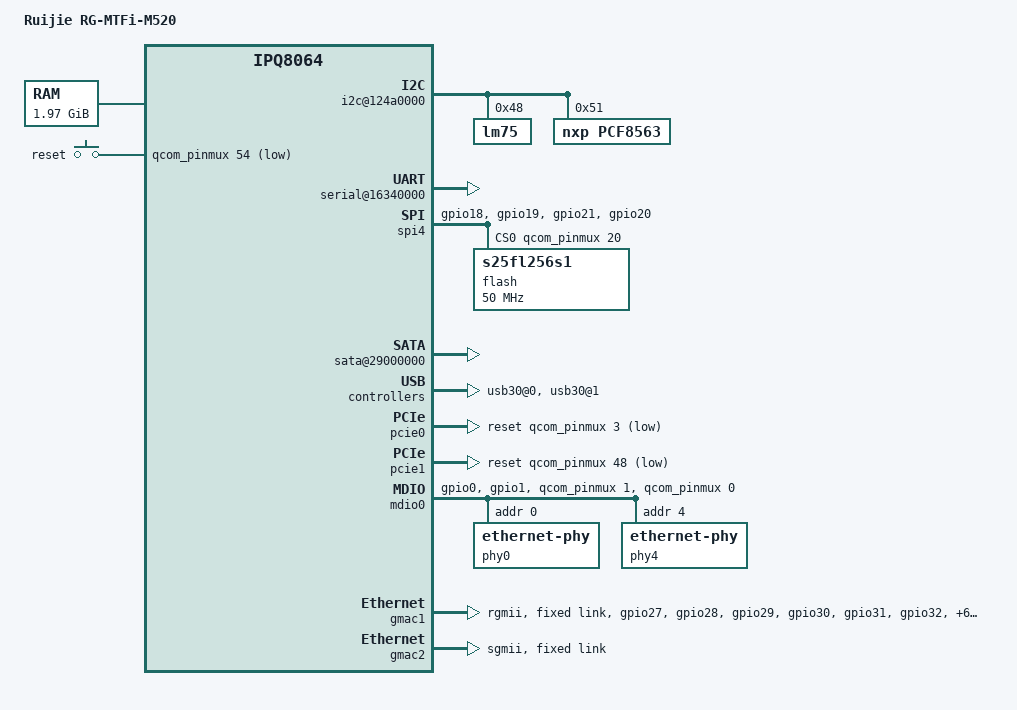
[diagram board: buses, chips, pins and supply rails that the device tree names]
// SPDX-License-Identifier: GPL-2.0-or-later OR MIT

#include "qcom-ipq8064-v2.0.dtsi"

#include <dt-bindings/input/input.h>

/ {
	model = "Ruijie RG-MTFi-M520";
	compatible = "ruijie,rg-mtfi-m520", "qcom,ipq8064";

	memory@0 {
		reg = <0x42000000 0x7e000000>;
		device_type = "memory";
	};

	reserved-memory {
		#address-cells = <1>;
		#size-cells = <1>;
		ranges;
		rsvd@41200000 {
			reg = <0x41200000 0x300000>;
			no-map;
		};
	};

	aliases {
		serial0 = &gsbi4_serial;
		mdio-gpio0 = &mdio0;
		sdcc1 = &sdcc1;
	};

	chosen {
		bootargs = "root=/dev/mmcblk0p3 rootfstype=squashfs,ext4 rootwait noinitrd";
		stdout-path = "serial0:115200n8";
	};

	soc {
		pinmux@800000 {
			button_pins: button_pins {
				mux {
					pins = "gpio54";
					function = "gpio";
					drive-strength = <2>;
					bias-pull-up;
				};
			};

			i2c4_pins: i2c4_pinmux {
				mux {
					pins = "gpio12", "gpio13";
					function = "gsbi4";
					drive-strength = <12>;
					bias-disable;
				};
			};

			led_pins: led_pins {
				mux {
					pins = "gpio7", "gpio8", "gpio9", "gpio53";
					function = "gpio";
					drive-strength = <2>;
					bias-pull-down;
				};
			};

			mdio0_pins: mdio0_pins {
				mux {
					pins = "gpio0", "gpio1";
					function = "gpio";
					drive-strength = <8>;
					bias-disable;
				};

				clk {
					pins = "gpio1";
					input-disable;
				};
			};

			rgmii2_pins: rgmii2_pins {
				mux {
					pins = "gpio27", "gpio28", "gpio29", "gpio30", "gpio31", "gpio32",
					       "gpio51", "gpio52", "gpio59", "gpio60", "gpio61", "gpio62";
					function = "rgmii2";
					drive-strength = <8>;
					bias-disable;
				};

				tx {
					pins = "gpio27", "gpio28", "gpio29", "gpio30", "gpio31", "gpio32";
					input-disable;
				};
			};

			sdcc1_pins: sdcc1_pinmux {
				mux {
					pins = "gpio38", "gpio39", "gpio40", "gpio41", "gpio42",
					       "gpio43", "gpio44", "gpio45", "gpio46", "gpio47";
					function = "sdc1";
				};

				cmd {
					pins = "gpio45";
					drive-strength = <10>;
					bias-pull-up;
				};

				data {
					pins = "gpio38", "gpio39", "gpio40", "gpio41",
					       "gpio43", "gpio44", "gpio46", "gpio47";
					drive-strength = <10>;
					bias-pull-up;
				};

				clk {
					pins = "gpio42";
					drive-strength = <16>;
					bias-disable;
				};
			};

			spi_pins: spi_pins {
				mux {
					pins = "gpio18", "gpio19", "gpio21";
					function = "gsbi5";
					drive-strength = <10>;
					bias-none;
				};

				cs {
					pins = "gpio20";
					drive-strength = <12>;
				};
			};
		};

		gsbi2: gsbi@12480000 {
			qcom,mode = <GSBI_PROT_I2C_UART>;
			status = "ok";

			i2c@124a0000 {
				status = "ok";

				lm75@48 {
					status = "okay";
					compatible = "lm75";
					reg = <0x48>;
				};

				pcf8563: rtc@51 {
					status = "okay";
					compatible = "nxp,pcf8563";
					reg = <0x51>;
				};
			};
		};

		gsbi@16300000 {
			qcom,mode = <GSBI_PROT_I2C_UART>;
			status = "ok";
			serial@16340000 {
				status = "ok";
			};
			/*
			 * The i2c device on gsbi4 should not be enabled.
			 * On ipq806x designs gsbi4 i2c is meant for exclusive
			 * RPM usage. Turning this on in kernel manifests as
			 * i2c failure for the RPM.
			 */
		};

		gsbi5: gsbi@1a200000 {
			qcom,mode = <GSBI_PROT_SPI>;
			status = "ok";

			spi4: spi@1a280000 {
				status = "ok";

				pinctrl-0 = <&spi_pins>;
				pinctrl-names = "default";

				cs-gpios = <&qcom_pinmux 20 GPIO_ACTIVE_HIGH>;

				flash: m25p80@0 {
					compatible = "s25fl256s1";
					#address-cells = <1>;
					#size-cells = <1>;
					spi-max-frequency = <50000000>;
					reg = <0>;

					SBL1@0 {
						label = "SBL1";
						reg = <0x0 0x10000>;
						read-only;
					};

					MIBIB@10000 {
						label = "MIBIB";
						reg = <0x10000 0x10000>;
						read-only;
					};

					SBL2@20000 {
						label = "SBL2";
						reg = <0x20000 0x20000>;
						read-only;
					};

					SBL3@40000 {
						label = "SBL3";
						reg = <0x40000 0x30000>;
						read-only;
					};

					DDRCONFIG@70000 {
						label = "DDRCONFIG";
						reg = <0x70000 0x10000>;
						read-only;
					};

					PRODUCTINFO: PRODUCTINFO@80000 {
						label = "PRODUCTINFO";
						reg = <0x80000 0x10000>;
						read-only;
					};

					TZ@90000 {
						label = "TZ";
						reg = <0x90000 0x30000>;
						read-only;
					};

					RPM@c0000 {
						label = "RPM";
						reg = <0xc0000 0x20000>;
						read-only;
					};

					APPSBL@e0000 {
						label = "APPSBL";
						reg = <0xe0000 0x80000>;
						read-only;
					};

					APPSBLENV@160000 {
						label = "APPSBLENV";
						reg = <0x160000 0x10000>;
						read-only;
					};

					BOOTCONFIG@170000 {
						label = "BOOTCONFIG";
						reg = <0x170000 0x10000>;
						read-only;
					};

					ART@180000 {
						label = "ART";
						reg = <0x180000 0x40000>;
						read-only;
					};
				};
			};
		};

		sata-phy@1b400000 {
			status = "ok";
		};

		sata@29000000 {
			ports-implemented = <0x1>;
			status = "ok";
		};

		phy@100f8800 {		/* USB3 port 1 HS phy */
			status = "ok";
		};

		phy@100f8830 {		/* USB3 port 1 SS phy */
			status = "ok";
		};

		phy@110f8800 {		/* USB3 port 0 HS phy */
			status = "ok";
		};

		phy@110f8830 {		/* USB3 port 0 SS phy */
			status = "ok";
		};

		usb30@0 {
			status = "ok";
		};

		usb30@1 {
			status = "ok";
		};

		pcie0: pci@1b500000 {
			status = "ok";
			reset-gpio = <&qcom_pinmux 3 GPIO_ACTIVE_LOW>;
			pinctrl-0 = <&pcie0_pins>;
			pinctrl-names = "default";
		};

		pcie1: pci@1b700000 {
			status = "ok";
			reset-gpio = <&qcom_pinmux 48 GPIO_ACTIVE_LOW>;
			pinctrl-0 = <&pcie1_pins>;
			pinctrl-names = "default";
			force_gen1 = <1>;
		};

		mdio0: mdio {
			compatible = "virtual,mdio-gpio";
			#address-cells = <1>;
			#size-cells = <0>;
			gpios = <&qcom_pinmux 1 GPIO_ACTIVE_HIGH &qcom_pinmux 0 GPIO_ACTIVE_HIGH>;
			pinctrl-0 = <&mdio0_pins>;
			pinctrl-names = "default";

			phy0: ethernet-phy@0 {
				reg = <0>;
				qca,ar8327-initvals = <
					0x00004 0x7600000   /* PAD0_MODE */
					0x00008 0x1000000   /* PAD5_MODE */
					0x0000c 0x80        /* PAD6_MODE */
					0x000e4 0x6a545     /* MAC_POWER_SEL */
					0x000e0 0xc74164de  /* SGMII_CTRL */
					0x0007c 0x4e        /* PORT0_STATUS */
					0x00094 0x4e        /* PORT6_STATUS */
					>;
			};

			phy4: ethernet-phy@4 {
				reg = <4>;
			};
		};

		gmac1: ethernet@37200000 {
			status = "ok";
			phy-mode = "rgmii";
			qcom,id = <1>;

			pinctrl-0 = <&rgmii2_pins>;
			pinctrl-names = "default";

			mtd-mac-address-ascii = <&PRODUCTINFO 0x86a>;

			fixed-link {
				speed = <1000>;
				full-duplex;
			};
		};

		gmac2: ethernet@37400000 {
			status = "ok";
			phy-mode = "sgmii";
			qcom,id = <2>;

			mtd-mac-address-ascii = <&PRODUCTINFO 0x86a>;
			mtd-mac-address-increment = <1>;
			mtd-mac-address-increment-byte = <0>;

			fixed-link {
				speed = <1000>;
				full-duplex;
			};
		};

		amba {
			sdcc1: sdcc@12400000 {
				status = "okay";
			    pinctrl-0 = <&sdcc1_pins>;
			    pinctrl-names = "default";
			};
		};
	};

	keys {
		compatible = "gpio-keys";
		pinctrl-0 = <&button_pins>;
		pinctrl-names = "default";

		reset {
			label = "reset";
			gpios = <&qcom_pinmux 54 GPIO_ACTIVE_LOW>;
			linux,code = <KEY_RESTART>;
		};
	};
};

&adm_dma {
	status = "ok";
};
